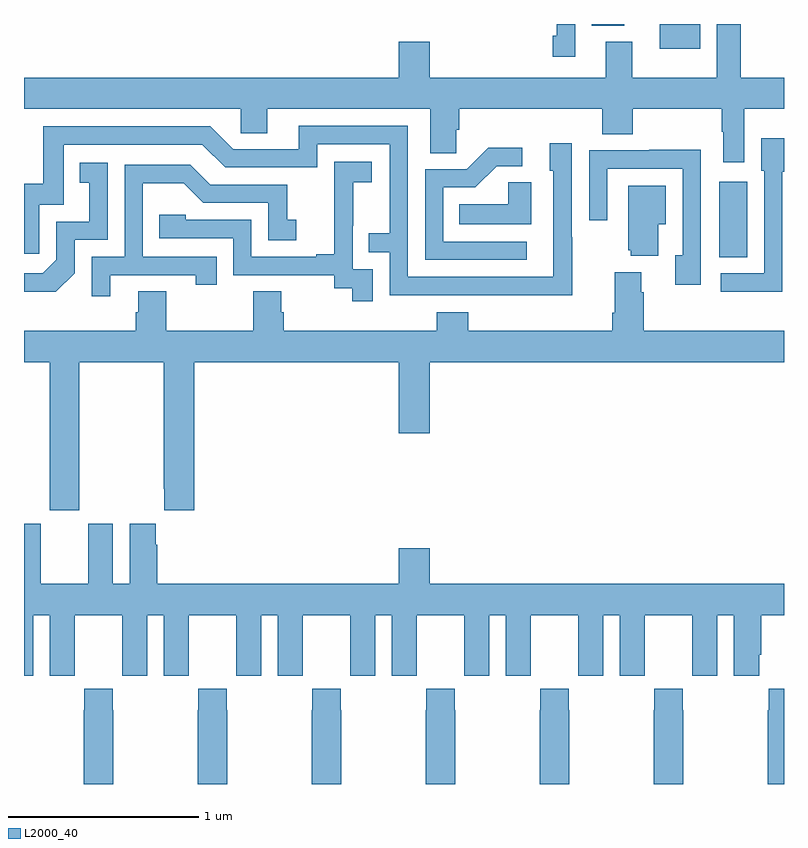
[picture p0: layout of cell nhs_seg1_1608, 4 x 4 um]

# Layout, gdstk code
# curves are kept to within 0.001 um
import gdstk
lib = gdstk.Library(unit=1e-6, precision=1e-09)
def R(c, l, rs):  # rectangles x0, y0, x1, y1
    for r in rs: c.add(gdstk.rectangle(r[:2], r[2:], *l))
def P(c, l, *ps):  # polygons
    for p in ps: c.add(gdstk.Polygon(p, *l))
L2000_40 = (2000, 40)

nhs_seg1_1608 = lib.new_cell('nhs_seg1_1608')
R(nhs_seg1_1608, L2000_40, [(202.658,530.971,202.807,531.37), (202.346,532.07,202.558,532.199), (201.989,532.19,202.159,532.199)])
P(nhs_seg1_1608, L2000_40, [(201.9,532.199),(201.804,532.199),(201.804,532.138),(201.784,532.138),(201.784,532.026),(201.9,532.026)],
  [(202.792,531.752),(203,531.752),(203,531.916),(202.772,531.916),(202.772,532.198),(202.646,532.198),(202.646,531.916),(202.201,531.916),(202.201,532.105),(202.061,532.105),(202.061,531.916),(201.136,531.916),(201.136,532.105),(200.972,532.105),(200.972,531.916),(199,531.916),(199,531.752),(200.142,531.752),(200.142,531.625),(200.281,531.625),(200.281,531.752),(201.137,531.752),(201.137,531.52),(201.276,531.52),(201.276,531.643),(201.29,531.643),(201.29,531.752),(202.043,531.752),(202.043,531.619),(202.203,531.619),(202.203,531.752),(202.672,531.752),(202.672,531.631),(202.679,531.631),(202.679,531.471),(202.792,531.471)],
  [(201.885,531.077),(201.882,531.077),(201.882,531.571),(201.767,531.571),(201.767,531.426),(201.786,531.426),(201.786,530.868),(201.021,530.868),(201.021,531.663),(200.447,531.663),(200.447,531.54),(200.1,531.54),(199.98,531.66),(199.101,531.66),(199.101,531.358),(199,531.358),(199,530.991),(199.08,530.991),(199.08,531.249),(199.209,531.249),(199.209,531.564),(199.938,531.564),(200.058,531.444),(200.544,531.444),(200.544,531.567),(200.925,531.567),(200.925,531.098),(200.815,531.098),(200.815,530.997),(200.925,530.997),(200.925,530.772),(201.885,530.771)],
  [(202.992,531.422),(203,531.422),(203,531.598),(202.88,531.598),(202.88,531.426),(202.896,531.426),(202.896,530.886),(202.668,530.886),(202.668,530.789),(202.992,530.789)],
  [(201.646,531.054),(201.207,531.054),(201.207,531.339),(201.376,531.339),(201.487,531.45),(201.622,531.45),(201.622,531.548),(201.443,531.548),(201.33,531.435),(201.111,531.435),(201.111,530.958),(201.646,530.958)],
  [(202.563,531.536),(202.291,531.536),(202.291,531.534),(201.975,531.534),(201.975,531.165),(202.071,531.165),(202.071,531.438),(202.467,531.438),(202.467,530.982),(202.427,530.982),(202.427,530.826),(202.563,530.826)],
  [(200.835,530.907),(200.73,530.907),(200.73,531.137),(200.732,531.137),(200.732,531.365),(200.83,531.365),(200.83,531.475),(200.632,531.475),(200.632,531.269),(200.633,531.269),(200.633,530.986),(200.537,530.986),(200.537,530.973),(200.196,530.973),(200.196,531.168),(199.851,531.168),(199.851,531.195),(199.711,531.195),(199.711,531.072),(200.1,531.072),(200.1,530.877),(200.634,530.877),(200.634,530.809),(200.727,530.809),(200.727,530.739),(200.835,530.739)],
  [(199.266,530.886),(199.266,531.063),(199.44,531.063),(199.44,531.469),(199.294,531.469),(199.294,531.363),(199.343,531.363),(199.343,531.159),(199.17,531.159),(199.17,530.958),(199.098,530.886),(199,530.886),(199,530.789),(199.168,530.789)],
  [(199.453,530.877),(199.904,530.877),(199.904,530.826),(200.015,530.826),(200.015,530.973),(199.626,530.973),(199.626,531.362),(199.84,531.362),(199.944,531.258),(200.286,531.258),(200.286,531.06),(200.434,531.06),(200.434,531.169),(200.385,531.169),(200.385,531.354),(199.981,531.354),(199.876,531.459),(199.53,531.459),(199.53,530.973),(199.356,530.973),(199.356,530.766),(199.453,530.766)],
  [(201.67,531.365),(201.549,531.365),(201.549,531.25),(201.292,531.25),(201.292,531.146),(201.67,531.146)],
  [(202.339,531.146),(202.378,531.146),(202.378,531.349),(202.181,531.349),(202.181,531.009),(202.193,531.009),(202.193,530.978),(202.339,530.978)],
  [(199.601,530.682),(199.589,530.682),(199.589,530.584),(199,530.584),(199,530.42),(199.135,530.42),(199.135,529.641),(199.29,529.641),(199.29,530.42),(199.735,530.42),(199.735,529.753),(199.739,529.753),(199.739,529.641),(199.895,529.641),(199.895,530.42),(200.972,530.42),(200.972,530.046),(201.136,530.046),(201.136,530.42),(203,530.42),(203,530.584),(202.262,530.584),(202.262,530.786),(202.249,530.786),(202.249,530.893),(202.109,530.893),(202.109,530.68),(202.097,530.68),(202.097,530.584),(201.338,530.584),(201.338,530.683),(201.173,530.683),(201.173,530.584),(200.366,530.584),(200.366,530.682),(200.353,530.682),(200.353,530.792),(200.206,530.792),(200.206,530.584),(199.749,530.584),(199.749,530.792),(199.601,530.792)],
  [(199.048,529.088),(199.136,529.088),(199.136,528.768),(199.266,528.768),(199.266,528.88),(199.267,528.88),(199.267,529.088),(199.517,529.088),(199.517,528.88),(199.518,528.88),(199.518,528.768),(199.648,528.768),(199.648,529.088),(199.736,529.088),(199.736,528.768),(199.866,528.768),(199.866,528.88),(199.867,528.88),(199.867,529.088),(200.117,529.088),(200.117,528.88),(200.118,528.88),(200.118,528.768),(200.248,528.768),(200.248,529.088),(200.336,529.088),(200.336,528.768),(200.466,528.768),(200.466,528.88),(200.467,528.88),(200.467,529.088),(200.717,529.088),(200.717,528.88),(200.718,528.88),(200.718,528.768),(200.848,528.768),(200.848,529.088),(200.936,529.088),(200.936,528.768),(201.066,528.768),(201.066,528.88),(201.067,528.88),(201.067,529.088),(201.317,529.088),(201.317,528.88),(201.318,528.88),(201.318,528.768),(201.448,528.768),(201.448,529.088),(201.536,529.088),(201.536,528.768),(201.666,528.768),(201.666,528.88),(201.667,528.88),(201.667,529.088),(201.917,529.088),(201.917,528.88),(201.918,528.88),(201.918,528.768),(202.048,528.768),(202.048,529.088),(202.136,529.088),(202.136,528.768),(202.266,528.768),(202.266,528.88),(202.267,528.88),(202.267,529.088),(202.517,529.088),(202.517,528.88),(202.518,528.88),(202.518,528.768),(202.648,528.768),(202.648,529.088),(202.736,529.088),(202.736,528.768),(202.87,528.768),(202.87,528.88),(202.88,528.88),(202.88,529.088),(203,529.088),(203,529.252),(201.136,529.252),(201.136,529.441),(200.972,529.441),(200.972,529.252),(199.7,529.252),(199.7,529.457),(199.693,529.457),(199.693,529.57),(199.556,529.57),(199.556,529.252),(199.468,529.252),(199.468,529.57),(199.337,529.57),(199.337,529.252),(199.087,529.252),(199.087,529.57),(199,529.57),(199,528.768),(199.048,528.768)],
  [(203,528.7),(202.921,528.7),(202.921,528.587),(202.915,528.587),(202.915,528.199),(203,528.199)],
  [(202.47,528.587),(202.467,528.587),(202.467,528.7),(202.317,528.7),(202.317,528.587),(202.315,528.587),(202.315,528.199),(202.47,528.199)],
  [(201.87,528.587),(201.867,528.587),(201.867,528.7),(201.717,528.7),(201.717,528.587),(201.715,528.587),(201.715,528.199),(201.87,528.199)],
  [(201.27,528.587),(201.267,528.587),(201.267,528.7),(201.117,528.7),(201.117,528.587),(201.115,528.587),(201.115,528.199),(201.27,528.199)],
  [(200.67,528.587),(200.667,528.587),(200.667,528.7),(200.517,528.7),(200.517,528.587),(200.515,528.587),(200.515,528.199),(200.67,528.199)],
  [(200.07,528.587),(200.067,528.587),(200.067,528.7),(199.917,528.7),(199.917,528.587),(199.915,528.587),(199.915,528.199),(200.07,528.199)],
  [(199.47,528.587),(199.467,528.587),(199.467,528.7),(199.317,528.7),(199.317,528.587),(199.315,528.587),(199.315,528.199),(199.47,528.199)])

lib.write_gds('nhs_seg1_1608.gds')
